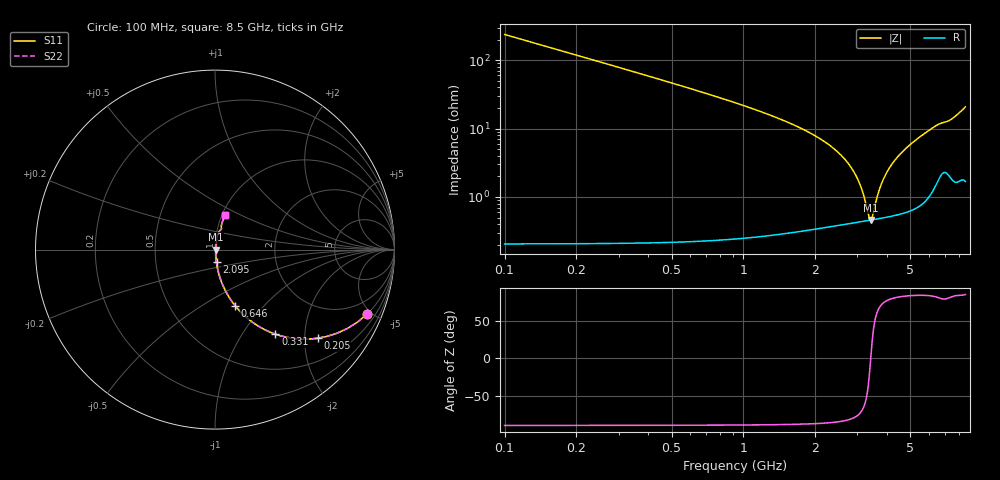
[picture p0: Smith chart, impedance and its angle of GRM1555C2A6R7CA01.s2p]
!Murata Part Number: GRM1555C2A6R7CA01
!These Parameters are Measured in Series Mode Connection
!Data Generated on Mar 30, 2021
!  o--ll--o
!Port1  Port2
!  o------o
!Operation Temp=25[degC], DC Bias Voltage=0[V]
!Freq. Start=100[MHz] Stop=9[GHz] 401[Steps]
# Hz S RI R 50
!Freq.(Hz) S11(Real) S11(Imag) S21(Real) S21(Imag) S12(Real) S12(Imag) S22(Real) S22(Imag)
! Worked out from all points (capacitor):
!   401 points, 100 MHz to 8.5 GHz, reference 50 ohm
!   read as one part in series: C = 6.7 pF near 142 MHz
!   lowest |Z| = 460 mohm at 3.418 GHz (marker M1)
!   series resonance near 3.412 GHz, so ESL is about 320 pH
!   S11 on the Smith chart (normalised r, x): 100 MHz: 1.00, -4.75; 205 MHz: 1.00, -2.31; 331 MHz: 1.00, -1.42; 646 MHz: 1.00, -0.71; 2.095 GHz: 1.01, -0.14; 8.5 GHz: 1.03, +0.42
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1e8  0.849 -0.3576  0.151 0.3576  0.151 0.3576  0.849 -0.3576
2.05e8  0.5712 -0.494  0.4288 0.494  0.4288 0.494  0.5712 -0.494
3.31e8  0.3361 -0.4709  0.6639 0.4709  0.6639 0.4709  0.3361 -0.4709
4.57e8  0.2077 -0.4035  0.7923 0.4035  0.7923 0.4035  0.2077 -0.4035
6.46e8  0.1131 -0.3136  0.8869 0.3136  0.8869 0.3136  0.1131 -0.3136
1.003e9  0.0468 -0.2056  0.9532 0.2056  0.9532 0.2056  0.0468 -0.2056
1.507e9  0.0186 -0.1241  0.9814 0.1241  0.9814 0.1241  0.0186 -0.1241
2.095e9  0.00839 -0.0699  0.9916 0.0699  0.9916 0.0699  0.00839 -0.0699
2.578e9  0.00544 -0.0394  0.9946 0.0394  0.9946 0.0394  0.00544 -0.0394
2.914e9  0.00465 -0.0221  0.9953 0.0221  0.9953 0.0221  0.00465 -0.0221
3.103e9  0.0045 -0.0133  0.9955 0.0133  0.9955 0.0133  0.0045 -0.0133
3.355e9  0.00452 -0.00237  0.9955 0.00237  0.9955 0.00237  0.00452 -0.00237
3.418e9  0.00457 0.000241  0.9954 -0.000241  0.9954 -0.000241  0.00457 0.000241
3.481e9  0.00463 0.00281  0.9954 -0.00281  0.9954 -0.00281  0.00463 0.00281
3.67e9  0.00488 0.0103  0.9951 -0.0103  0.9951 -0.0103  0.00488 0.0103
3.817e9  0.00514 0.0159  0.9949 -0.0159  0.9949 -0.0159  0.00514 0.0159
4.3e9  0.00644 0.0334  0.9936 -0.0334  0.9936 -0.0334  0.00644 0.0334
4.888e9  0.00892 0.0536  0.9911 -0.0536  0.9911 -0.0536  0.00892 0.0536
5.707e9  0.0149 0.0814  0.9851 -0.0814  0.9851 -0.0814  0.0149 0.0814
6.484e9  0.0279 0.1069  0.9721 -0.1069  0.9721 -0.1069  0.0279 0.1069
7.114e9  0.0359 0.1176  0.9641 -0.1176  0.9641 -0.1176  0.0359 0.1176
8.5e9  0.0559 0.1928  0.9441 -0.1928  0.9441 -0.1928  0.0559 0.1928
